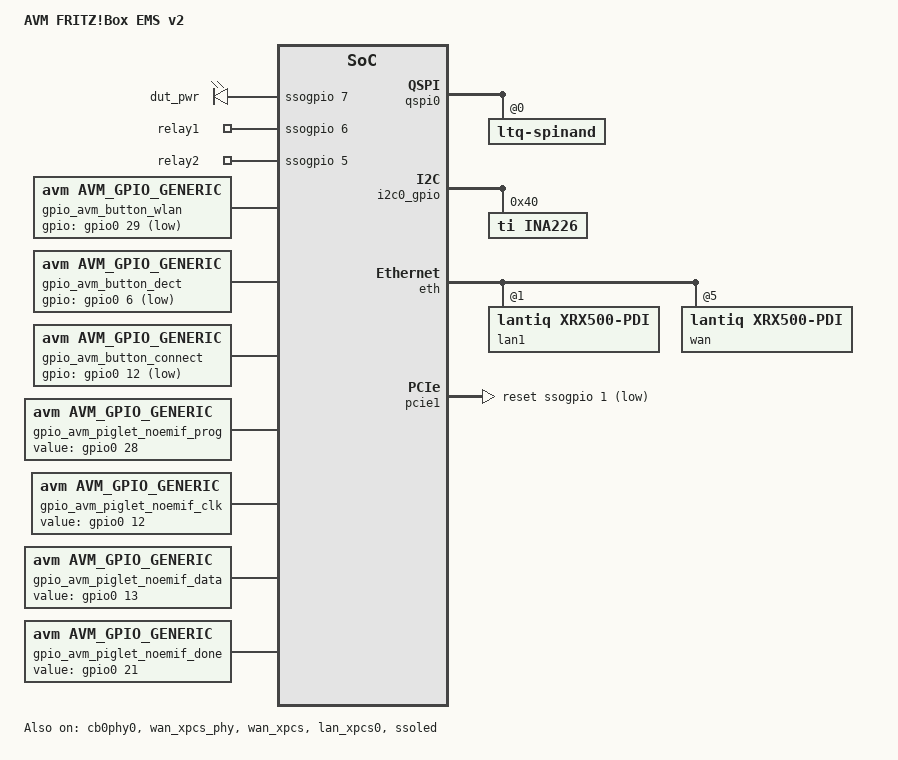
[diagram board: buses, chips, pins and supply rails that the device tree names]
#include "prx_common.dtsi"

/ {
	model = "AVM FRITZ!Box EMS v2";
};

&qspi0 {
	ltq-spinand@0 {
		page-size = <4224>;
	};
};

&i2c0_gpio {
	ina226@40 {
		compatible = "ti,ina226";
		reg = <0x40>;
		shunt-resistor = <10000>;
	};
};

/ {
	tdm {
		compatible = "avm,ltq_tdm";

		clocks = <&cgu0 PRX300_GCLK_TDM>;
		interrupt-parent = <&gic>;
		interrupts = <GIC_SHARED 52 IRQ_TYPE_LEVEL_HIGH>,
			<GIC_SHARED 51 IRQ_TYPE_EDGE_RISING>;
	};

	yield {
		compatible = "avm,yield";

		interrupt-parent = <&gic>;
		interrupts = <GIC_SHARED 0 IRQ_TYPE_EDGE_RISING>,
			<GIC_SHARED 1 IRQ_TYPE_EDGE_RISING>,
			<GIC_SHARED 2 IRQ_TYPE_EDGE_RISING>,
			<GIC_SHARED 3 IRQ_TYPE_EDGE_RISING>;

		pinctrl-names = "default";
		pinctrl-0 = <&pinctrl_tdm &pinctrl_gpc0>;
	};

	bthelper {
		compatible = "avm,bthelper";
		interrupt-parent = <&gic>;
		interrupts = <GIC_SHARED 200 IRQ_TYPE_EDGE_RISING>,
			<GIC_SHARED 201 IRQ_TYPE_EDGE_RISING>;
	};

	/* Linux hat keine Beschreibung für Relays; die Relays 1 und 2 haben
	 * aber auch jeweils eine LED und das DuT enthält sogar mehrere LEDs.
	 * Daher beschreiben wir hier die LEDs. */
	leds {
		compatible = "gpio-leds";

		dut_pwr {
			gpios = <&ssogpio 7 GPIO_ACTIVE_HIGH>;
		};

		relay1 {
			gpios = <&ssogpio 6 GPIO_ACTIVE_HIGH>;
		};

		relay2 {
			gpios = <&ssogpio 5 GPIO_ACTIVE_HIGH>;
		};
	};
};

&pinctrl {
	pinctrl_gpc0: gpc0 {
		intel,pins = <19>;
		intel,function = "gpc0";
		intel,mux = <EQBR_MUX_2>;
		intel,groups = "gpc0";
	};
};

&cb0phy0 {
	status = "okay";
	intel,mode = <1>; /*0-pcie, 1-xpcs*/
};

&eth {
	status = "okay";

	lan1: interface@1 {
		status = "okay";
		compatible = "lantiq,xrx500-pdi";
		#address-cells = <1>;
		#size-cells = <0>;
		reg = <1>;
		intel,dp-dev-port = <3>;
		intel,dp-port-id = <3>;
		mac = <&gsw_mac1>;
		intel,lct-en = <0>;
		intel,extra-subif = <0>;
		avm,name = "switch0";
		avm,macname = "macb";

		ethernet@1 {
			compatible = "lantiq,xrx500-pdi-port";
			reg = <1>;
			fixed-link {
				speed = <2500>;
				full-duplex;
				pause;
			};
		};
	};

	wan: interface@5 {
		status = "okay";
		compatible = "lantiq,xrx500-pdi";
		#address-cells = <1>;
		#size-cells = <0>;
		reg = <5>;
		lantiq,wan = <1>;
		intel,dp-dev-port = <2>;
		intel,dp-port-id = <2>;
		mac = <&gsw_mac0>;
		intel,lct-en = <0>;
		intel,extra-subif = <0>;
		avm,name = "VANI0";
		avm,macname = "macdsl";

		ethernet@5 {
			compatible = "lantiq,xrx500-pdi-port";
			reg = <5>;
			phy-mode = "rgmii";
		};
	};
};

/delete-node/ &vuni;

&gsw_mac1 {
	pinctrl-names = "default";
	pinctrl-0 = <&pinctrl_mdio0>;
};

&pon_eth {
	status = "disabled";
};

&pon_ptp0 {
	status = "disabled";
};

&pon_ptp1 {
	status = "disabled";
};

&ponmbox1 {
	/delete-property/ pinctrl-names;
	/delete-property/ pinctrl-0;

	status = "okay";
	resets = <&rcu0 0x10 28>;
	reset-names = "ponip";
};

&wan_xpcs_phy {
	status = "okay";
};

&wan_xpcs {
	status = "okay";
	xpcs-mode = <0>;
};

&lan_xpcs0 {
	status = "okay";
	xpcs-mode = <3>; /* <0> - 10G_KR_MODE, <1> - 10G_XAUI_MODE, <2> - 1G_XAUI_MODE, <3> - 2P5G_GMII_MODE */
	xpcs-conn = <0>; /* <0> - SFP, <1> - PHY */
};

&pcie1 {
	intel,rst-interval = <200>;
	reset-gpio = <&ssogpio 1 GPIO_ACTIVE_LOW>;
};

/ {
	avm-gpio {
		compatible = "simple-bus";

		pinctrl-names = "default";
		pinctrl-0 = <&pinctrl_uart1>;

		gpio_avm_led_power {
			compatible = "avm,avm_gpio_led";
		};
		gpio_avm_led_wlan {
			compatible = "avm,avm_gpio_led";
		};
		gpio_avm_led_fon {
			compatible = "avm,avm_gpio_led";
		};
		gpio_avm_led_connect {
			compatible = "avm,avm_gpio_led";
		};
		gpio_avm_led_info {
			compatible = "avm,avm_gpio_led";
		};
		gpio_avm_led_info_red {
			compatible = "avm,avm_gpio_led";
		};
		gpio_avm_button_wlan {
			compatible = "avm,avm_gpio_generic";
			gpio = <&gpio0 29 GPIO_ACTIVE_LOW>;
			avm,input;
		};
		gpio_avm_button_dect {
			compatible = "avm,avm_gpio_generic";
			gpio = <&gpio0 6 GPIO_ACTIVE_LOW>;
			avm,input;
		};
		gpio_avm_button_connect {
			compatible = "avm,avm_gpio_generic";
			gpio = <&gpio0 12 GPIO_ACTIVE_LOW>;
			avm,input;
		};
		gpio_avm_piglet_noemif_prog {
			compatible = "avm,avm_gpio_generic";
			value-gpio = <&gpio0 28 GPIO_ACTIVE_HIGH>;
		};
		gpio_avm_piglet_noemif_clk {
			compatible = "avm,avm_gpio_generic";
			value-gpio = <&gpio0 12 GPIO_ACTIVE_HIGH>;
		};
		gpio_avm_piglet_noemif_data {
			compatible = "avm,avm_gpio_generic";
			value-gpio = <&gpio0 13 GPIO_ACTIVE_HIGH>;
		};
		gpio_avm_piglet_noemif_done {
			compatible = "avm,avm_gpio_generic";
			value-gpio = <&gpio0 21 GPIO_ACTIVE_HIGH>;
		};
	};
};

&ssogpio {
	status = "ok";

	ngpios = <16>;
	intel,sso-update-rate = <100000>;
	intel,sso-shift-clk-freq = <3125000>;
	pinctrl-0 = <&pinctrl_ledc>, <&pinctrl_sso_oe>;
};

&ssoled {
       status = "okay";

       led2 {
	       label = "avm:red:info";
	       led-gpio = <&ssogpio 10 GPIO_ACTIVE_LOW>;
	       intel,led-pin = <10>;
	       linux,default-trigger = "gpio_avm_led_info_red";
       };
       led3 {
	       label = "avm:green:info";
	       led-gpio = <&ssogpio 11 GPIO_ACTIVE_LOW>;
	       intel,led-pin = <11>;
	       linux,default-trigger = "gpio_avm_led_info";
       };
       led4 {
	       label = "avm:green:power";
	       led-gpio = <&ssogpio 12 GPIO_ACTIVE_LOW>;
	       intel,led-pin = <12>;
	       linux,default-trigger = "gpio_avm_led_power";
       };
       led5 {
	       label = "avm:green:wlan";
	       led-gpio = <&ssogpio 13 GPIO_ACTIVE_LOW>;
	       intel,led-pin = <13>;
	       linux,default-trigger = "gpio_avm_led_wlan";
       };
       led6 {
	       label = "avm:green:fon";
	       led-gpio = <&ssogpio 14 GPIO_ACTIVE_LOW>;
	       intel,led-pin = <14>;
	       linux,default-trigger = "gpio_avm_led_fon";
       };
       led7 {
	       label = "avm:green:connect";
	       led-gpio = <&ssogpio 15 GPIO_ACTIVE_LOW>;
	       intel,led-pin = <15>;
	       linux,default-trigger = "gpio_avm_led_connect";
       };
};

&pinctrl_ledc {
	status="ok";
};

&pinctrl {
	pinctrl_sso_oe: pinctrl_sso_oe {
		intel,pins =  <17>;
		intel,function = "sso_oe";
		intel,mux = <EQBR_MUX_0>;
		intel,groups = "sso_oe";
		intel,output = <0>;
	};
};
